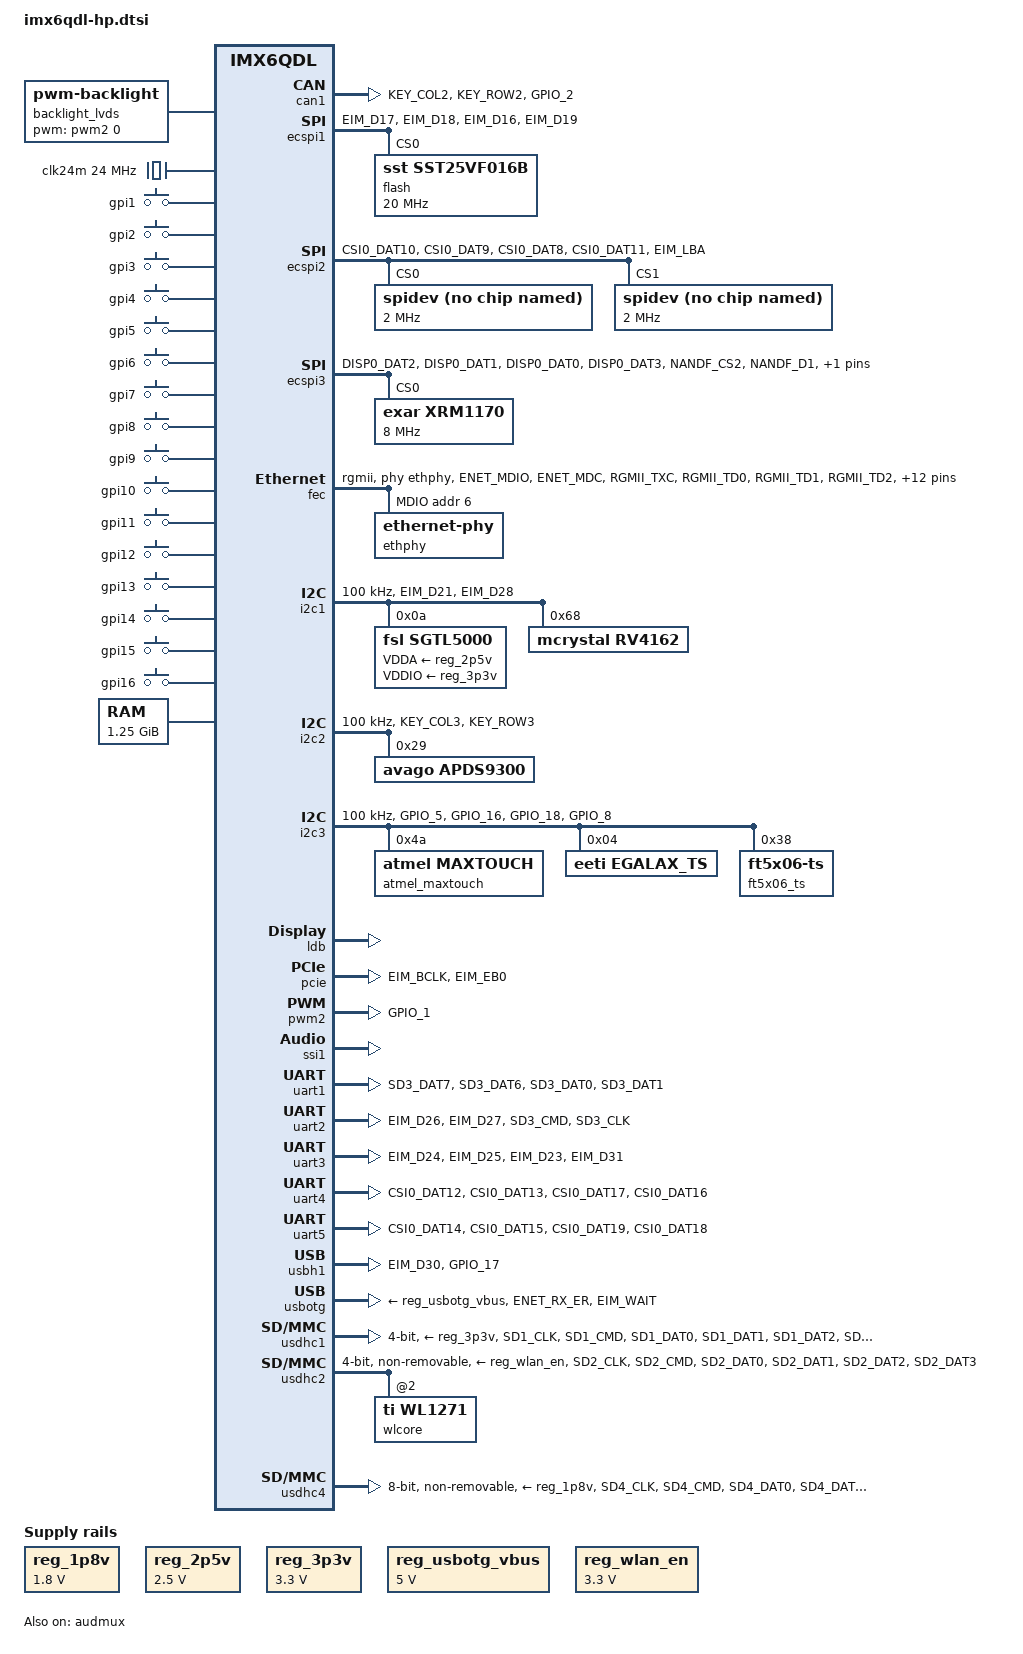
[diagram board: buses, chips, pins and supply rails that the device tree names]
/*
 * Copyright 2016 Boundary Devices, Inc.
 *
 * The code contained herein is licensed under the GNU General Public
 * License. You may obtain a copy of the GNU General Public License
 * Version 2 or later at the following locations:
 *
 * http://www.opensource.org/licenses/gpl-license.html
 * http://www.gnu.org/copyleft/gpl.html
 */
#include <dt-bindings/gpio/gpio.h>
#include <dt-bindings/input/input.h>

&iomuxc {
	pinctrl-names = "default";
	pinctrl-0 = <&pinctrl_hog>;

	iomuxc_imx6q_hp: iomuxc-imx6q-hpgrp {
		status = "okay";
	};
};

&iomuxc_imx6q_hp {
	pinctrl_audmux3: audmux3grp {
		fsl,pins = <
			MX6QDL_PAD_CSI0_DAT7__AUD3_RXD		0x130b0
			MX6QDL_PAD_CSI0_DAT4__AUD3_TXC		0x130b0
			MX6QDL_PAD_CSI0_DAT5__AUD3_TXD		0x110b0
			MX6QDL_PAD_CSI0_DAT6__AUD3_TXFS		0x130b0
		>;
	};

	pinctrl_audmux4: audmux4grp {
		fsl,pins = <
			MX6QDL_PAD_DISP0_DAT23__AUD4_RXD	0x130b0
			MX6QDL_PAD_DISP0_DAT19__AUD4_RXC	0x130b0
			MX6QDL_PAD_DISP0_DAT18__AUD4_RXFS	0x130b0
			MX6QDL_PAD_DISP0_DAT20__AUD4_TXC	0x130b0
			MX6QDL_PAD_DISP0_DAT21__AUD4_TXD	0x110b0
			MX6QDL_PAD_DISP0_DAT22__AUD4_TXFS	0x130b0
		>;
	};

	pinctrl_bt_rfkill: bt-rfkillgrp {
		fsl,pins = <
#define GP_BT_RFKILL_RESET	<&gpio6 16 GPIO_ACTIVE_LOW>
			MX6QDL_PAD_NANDF_CS3__GPIO6_IO16	0x030b0
		>;
	};

	pinctrl_ecspi1: ecspi1grp {
		fsl,pins = <
			MX6QDL_PAD_EIM_D17__ECSPI1_MISO		0x100b1
			MX6QDL_PAD_EIM_D18__ECSPI1_MOSI		0x100b1
			MX6QDL_PAD_EIM_D16__ECSPI1_SCLK		0x000b1
#define GP_ECSPI1_NOR_CS	<&gpio3 19 GPIO_ACTIVE_LOW>
			MX6QDL_PAD_EIM_D19__GPIO3_IO19		0x0b0b1
		>;
	};

	pinctrl_ecspi2: ecspi2grp {
		fsl,pins = <
			MX6QDL_PAD_CSI0_DAT10__ECSPI2_MISO	0x100b1
			MX6QDL_PAD_CSI0_DAT9__ECSPI2_MOSI	0x100b1
			MX6QDL_PAD_CSI0_DAT8__ECSPI2_SCLK	0x100b1
#define GP_ECSPI2_SS0		<&gpio5 29 GPIO_ACTIVE_LOW>
			MX6QDL_PAD_CSI0_DAT11__GPIO5_IO29	0x0b0b1
#define GP_ECSPI2_SS1		<&gpio2 27 GPIO_ACTIVE_LOW>
			MX6QDL_PAD_EIM_LBA__GPIO2_IO27		0x0b0b1
		>;
	};

	pinctrl_ecspi3: ecspi3grp {
		fsl,pins = <
			MX6QDL_PAD_DISP0_DAT2__ECSPI3_MISO	0x100b1
			MX6QDL_PAD_DISP0_DAT1__ECSPI3_MOSI	0x100b1
			MX6QDL_PAD_DISP0_DAT0__ECSPI3_SCLK	0x100b1
#define GP_ECSPI3_UART	<&gpio4 24 GPIO_ACTIVE_LOW>
			MX6QDL_PAD_DISP0_DAT3__GPIO4_IO24	0x0b0b0		/* XR20M1170IL16-F : uart */
			MX6QDL_PAD_NANDF_CS2__CCM_CLKO2		0x000b0
#define GPIRQ_SPI_UART		<&gpio2 1 IRQ_TYPE_LEVEL_LOW>
			MX6QDL_PAD_NANDF_D1__GPIO2_IO01		0x1b0b0
#define GP_SPI_UART_RESET	<&gpio2 2 GPIO_ACTIVE_LOW>
			MX6QDL_PAD_NANDF_D2__GPIO2_IO02		0x030b0
		>;
	};

	pinctrl_enet: enetgrp {
		fsl,pins = <
			MX6QDL_PAD_ENET_MDIO__ENET_MDIO		0x1b0b0
			MX6QDL_PAD_ENET_MDC__ENET_MDC		0x1b0b0
			MX6QDL_PAD_RGMII_TXC__RGMII_TXC		0x100b0
			MX6QDL_PAD_RGMII_TD0__RGMII_TD0		0x100b0
			MX6QDL_PAD_RGMII_TD1__RGMII_TD1		0x100b0
			MX6QDL_PAD_RGMII_TD2__RGMII_TD2		0x100b0
			MX6QDL_PAD_RGMII_TD3__RGMII_TD3		0x100b0
			MX6QDL_PAD_RGMII_TX_CTL__RGMII_TX_CTL	0x100b0
			MX6QDL_PAD_ENET_REF_CLK__ENET_TX_CLK	0x100b0
			MX6QDL_PAD_RGMII_RXC__RGMII_RXC		0x1b0b0
			MX6QDL_PAD_RGMII_RD0__RGMII_RD0		0x130b0
			MX6QDL_PAD_RGMII_RD1__RGMII_RD1		0x1b0b0
			MX6QDL_PAD_RGMII_RD2__RGMII_RD2		0x130b0
			MX6QDL_PAD_RGMII_RD3__RGMII_RD3		0x1b0b0
			MX6QDL_PAD_RGMII_RX_CTL__RGMII_RX_CTL	0x130b0
#define GP_ENET_PHY_RESET	<&gpio1 27 GPIO_ACTIVE_LOW>
			MX6QDL_PAD_ENET_RXD0__GPIO1_IO27	0x030b0
#define GPIRQ_ENET_PHY		<&gpio1 28 IRQ_TYPE_LEVEL_LOW>
			MX6QDL_PAD_ENET_TX_EN__GPIO1_IO28	0x1b0b0
#define GPIRQ_ENET		<&gpio1 6 IRQ_TYPE_LEVEL_HIGH>
			MX6QDL_PAD_GPIO_6__ENET_IRQ		0x000b1
		>;
	};

	pinctrl_flexcan1: flexcan1grp {
		fsl,pins = <
			MX6QDL_PAD_KEY_COL2__FLEXCAN1_TX	0x1b0b0
			MX6QDL_PAD_KEY_ROW2__FLEXCAN1_RX	0x1b0b0
#define GP_FLEXCAN1_STANDBY	<&gpio1 2 GPIO_ACTIVE_HIGH>
			MX6QDL_PAD_GPIO_2__GPIO1_IO02		0x0b0b0
		>;
	};

	pinctrl_gpio_keys: gpio-keysgrp {
		fsl,pins = <
#define GP_GPI_1	<&gpio3 8 GPIO_ACTIVE_HIGH>
			MX6QDL_PAD_EIM_DA8__GPIO3_IO08		0x100b0
#define GP_GPI_2	<&gpio3 9 GPIO_ACTIVE_HIGH>
			MX6QDL_PAD_EIM_DA9__GPIO3_IO09		0x100b0
#define GP_GPI_3	<&gpio3 10 GPIO_ACTIVE_HIGH>
			MX6QDL_PAD_EIM_DA10__GPIO3_IO10		0x100b0
#define GP_GPI_4	<&gpio3 11 GPIO_ACTIVE_HIGH>
			MX6QDL_PAD_EIM_DA11__GPIO3_IO11		0x100b0
#define GP_GPI_5	<&gpio3 12 GPIO_ACTIVE_HIGH>
			MX6QDL_PAD_EIM_DA12__GPIO3_IO12		0x100b0
#define GP_GPI_6	<&gpio3 13 GPIO_ACTIVE_HIGH>
			MX6QDL_PAD_EIM_DA13__GPIO3_IO13		0x100b0
#define GP_GPI_7	<&gpio3 14 GPIO_ACTIVE_HIGH>
			MX6QDL_PAD_EIM_DA14__GPIO3_IO14		0x100b0
#define GP_GPI_8	<&gpio3 15 GPIO_ACTIVE_HIGH>
			MX6QDL_PAD_EIM_DA15__GPIO3_IO15		0x100b0
#define GP_GPI_9	<&gpio4 15 GPIO_ACTIVE_HIGH>
			MX6QDL_PAD_KEY_ROW4__GPIO4_IO15		0x100b0
#define GP_GPI_10	<&gpio4 14 GPIO_ACTIVE_HIGH>
			MX6QDL_PAD_KEY_COL4__GPIO4_IO14		0x100b0
#define GP_GPI_11	<&gpio1 4 GPIO_ACTIVE_HIGH>
			MX6QDL_PAD_GPIO_4__GPIO1_IO04		0x100b0
#define GP_GPI_12	<&gpio4 7 GPIO_ACTIVE_HIGH>
			MX6QDL_PAD_KEY_ROW0__GPIO4_IO07		0x100b0
#define GP_GPI_13	<&gpio1 7 GPIO_ACTIVE_HIGH>
			MX6QDL_PAD_GPIO_7__GPIO1_IO07		0x100b0
#define GP_GPI_14	<&gpio3 29 GPIO_ACTIVE_HIGH>
			MX6QDL_PAD_EIM_D29__GPIO3_IO29		0x100b0
#define GP_GPI_15	<&gpio2 25 GPIO_ACTIVE_HIGH>
			MX6QDL_PAD_EIM_OE__GPIO2_IO25		0x100b0
#define GP_GPI_16	<&gpio2 26 GPIO_ACTIVE_HIGH>
			MX6QDL_PAD_EIM_RW__GPIO2_IO26		0x100b0
#define GP_GPI_EN_N	<&gpio2 31 GPIO_ACTIVE_LOW>
			MX6QDL_PAD_EIM_EB3__GPIO2_IO31		0x1b0b0
		>;
	};

	pinctrl_hog: hoggrp {
		fsl,pins = <
#define GP_GPO_1	<&gpio3 0 GPIO_ACTIVE_LOW>
			MX6QDL_PAD_EIM_DA0__GPIO3_IO00		0x1b0b0
#define GP_GPO_2	<&gpio3 1 GPIO_ACTIVE_LOW>
			MX6QDL_PAD_EIM_DA1__GPIO3_IO01		0x1b0b0
#define GP_GPO_3	<&gpio3 2 GPIO_ACTIVE_LOW>
			MX6QDL_PAD_EIM_DA2__GPIO3_IO02		0x1b0b0
#define GP_GPO_4	<&gpio3 3 GPIO_ACTIVE_LOW>
			MX6QDL_PAD_EIM_DA3__GPIO3_IO03		0x1b0b0
#define GP_GPO_5	<&gpio3 4 GPIO_ACTIVE_LOW>
			MX6QDL_PAD_EIM_DA4__GPIO3_IO04		0x1b0b0
#define GP_GPO_6	<&gpio3 5 GPIO_ACTIVE_LOW>
			MX6QDL_PAD_EIM_DA5__GPIO3_IO05		0x1b0b0
#define GP_GPO_7	<&gpio3 6 GPIO_ACTIVE_LOW>
			MX6QDL_PAD_EIM_DA6__GPIO3_IO06		0x1b0b0
#define GP_GPO_8	<&gpio3 7 GPIO_ACTIVE_LOW>
			MX6QDL_PAD_EIM_DA7__GPIO3_IO07		0x1b0b0
#define GP_TP71		<&gpio1 30 GPIO_ACTIVE_LOW>
			MX6QDL_PAD_ENET_TXD0__GPIO1_IO30	0x1b0b0
#define GP_TP72		<&gpio4 8 GPIO_ACTIVE_LOW>
			MX6QDL_PAD_KEY_COL1__GPIO4_IO08		0x1b0b0
#define GP_TP73		<&gpio4 9 GPIO_ACTIVE_LOW>
			MX6QDL_PAD_KEY_ROW1__GPIO4_IO09		0x1b0b0
#define GP_TP74		<&gpio2 7 GPIO_ACTIVE_LOW>
			MX6QDL_PAD_NANDF_D7__GPIO2_IO07		0x1b0b0
#define GP_TP84		<&gpio1 3 GPIO_ACTIVE_LOW>
			MX6QDL_PAD_GPIO_3__GPIO1_IO03		0x1b0b0
#define GP_TP88		<&gpio4 5 GPIO_ACTIVE_LOW>
			MX6QDL_PAD_GPIO_19__GPIO4_IO05		0x1b0b0
#define GP_TP89		<&gpio7 8 GPIO_ACTIVE_LOW>
			MX6QDL_PAD_SD3_RST__GPIO7_IO08		0x1b0b0
#define GP_TP95		<&gpio2 30 GPIO_ACTIVE_LOW>
			MX6QDL_PAD_EIM_EB2__GPIO2_IO30		0x1b0b0
#define GP_LVDS_CTRL	<&gpio2 0 GPIO_ACTIVE_LOW>
			MX6QDL_PAD_NANDF_D0__GPIO2_IO00		0x1b0b0
#define GPIRQ_LIGHT_SENSOR	<&gpio7 6 IRQ_TYPE_LEVEL_HIGH>
			MX6QDL_PAD_SD3_DAT2__GPIO7_IO06		0x1b0b0
		>;
	};

	pinctrl_i2c1: i2c1grp {
		fsl,pins = <
			MX6QDL_PAD_EIM_D21__I2C1_SCL		0x4001b8b1
			MX6QDL_PAD_EIM_D28__I2C1_SDA		0x4001b8b1
		>;
	};

	pinctrl_i2c1_rv4162: i2c1-rv4162grp {
		fsl,pins = <
#define GPIRQ_RTC_RV4162	<&gpio4 6 IRQ_TYPE_LEVEL_LOW>
			MX6QDL_PAD_KEY_COL0__GPIO4_IO06		0x1b0b0
		>;
	};

	pinctrl_i2c1_sgtl5000: i2c1-sgtl5000grp {
		fsl,pins = <
			MX6QDL_PAD_GPIO_0__CCM_CLKO1		0x000b0		/* sys_mclk */
		>;
	};

	pinctrl_i2c2: i2c2grp {
		fsl,pins = <
			MX6QDL_PAD_KEY_COL3__I2C2_SCL		0x4001b8b1
			MX6QDL_PAD_KEY_ROW3__I2C2_SDA		0x4001b8b1
		>;
	};

	pinctrl_i2c3: i2c3grp {
		fsl,pins = <
			MX6QDL_PAD_GPIO_5__I2C3_SCL		0x4001b8b1
			MX6QDL_PAD_GPIO_16__I2C3_SDA		0x4001b8b1
#define GPIRQ_I2C3_J6		<&gpio7 13 IRQ_TYPE_EDGE_FALLING>
#define GP_I2C3_J6		<&gpio7 13 GPIO_ACTIVE_LOW>
			MX6QDL_PAD_GPIO_18__GPIO7_IO13		0x1b0b0
#define GP_I2C3_J6_RESET	<&gpio1 8 GPIO_ACTIVE_LOW>
			MX6QDL_PAD_GPIO_8__GPIO1_IO08		0x130b0
		>;
	};

	pinctrl_pcie: pciegrp {
		fsl,pins = <
#define GP_PCIE_RESET	<&gpio6 31 GPIO_ACTIVE_LOW>
			MX6QDL_PAD_EIM_BCLK__GPIO6_IO31		0x030b0
#define GP_PCIE_DISABLE	<&gpio2 28 GPIO_ACTIVE_LOW>
			MX6QDL_PAD_EIM_EB0__GPIO2_IO28		0x030b0
		>;
	};

	pinctrl_pwm1: pwm1grp {
		fsl,pins = <
			MX6QDL_PAD_GPIO_9__PWM1_OUT		0x030b1
		>;
	};

	pinctrl_pwm2: pwm2grp {
		fsl,pins = <
			MX6QDL_PAD_GPIO_1__PWM2_OUT		0x030b1
		>;
	};

	pinctrl_reg_usbotg_vbus: reg-usbotg-vbusgrp {
		fsl,pins = <
#define GP_REG_USBOTG	<&gpio3 22 GPIO_ACTIVE_HIGH>
			MX6QDL_PAD_EIM_D22__GPIO3_IO22		0x030b0
		>;
	};

	pinctrl_reg_wlan_en: reg-wlan-engrp {
		fsl,pins = <
#define GP_REG_WLAN_EN	<&gpio2 5 GPIO_ACTIVE_HIGH>
			MX6QDL_PAD_NANDF_D5__GPIO2_IO05		0x030b0
		>;
	};

	pinctrl_uart1: uart1grp {
		fsl,pins = <
			MX6QDL_PAD_SD3_DAT7__UART1_TX_DATA	0x1b0b1
			MX6QDL_PAD_SD3_DAT6__UART1_RX_DATA	0x1b0b1
			MX6QDL_PAD_SD3_DAT0__GPIO7_IO04		0x1b0b1
#define GP_UART1_TX_EN	<&gpio7 5 GPIO_ACTIVE_HIGH>
			MX6QDL_PAD_SD3_DAT1__GPIO7_IO05		0x030b1
		>;
	};

	pinctrl_uart2: uart2grp {
		fsl,pins = <
			MX6QDL_PAD_EIM_D26__UART2_TX_DATA	0x1b0b1
			MX6QDL_PAD_EIM_D27__UART2_RX_DATA	0x1b0b1
			MX6QDL_PAD_SD3_CMD__UART2_CTS_B		0x1b0b1
			MX6QDL_PAD_SD3_CLK__UART2_RTS_B		0x1b0b1
		>;
	};

	pinctrl_uart3: uart3grp {
		fsl,pins = <
			MX6QDL_PAD_EIM_D24__UART3_TX_DATA	0x1b0b1
			MX6QDL_PAD_EIM_D25__UART3_RX_DATA	0x1b0b1
			MX6QDL_PAD_EIM_D23__GPIO3_IO23		0x1b0b1
#define GP_UART3_TX_EN	<&gpio3 31 GPIO_ACTIVE_HIGH>
			MX6QDL_PAD_EIM_D31__GPIO3_IO31		0x030b1
		>;
	};

	pinctrl_uart4: uart4grp {
		fsl,pins = <
			MX6QDL_PAD_CSI0_DAT12__UART4_TX_DATA	0x1b0b1
			MX6QDL_PAD_CSI0_DAT13__UART4_RX_DATA	0x1b0b1
			MX6QDL_PAD_CSI0_DAT17__GPIO6_IO03	0x1b0b1
#define GP_UART4_TX_EN	<&gpio6 2 GPIO_ACTIVE_HIGH>
			MX6QDL_PAD_CSI0_DAT16__GPIO6_IO02	0x030b1
		>;
	};

	pinctrl_uart5: uart5grp {
		fsl,pins = <
			MX6QDL_PAD_CSI0_DAT14__UART5_TX_DATA	0x0b0b1
			MX6QDL_PAD_CSI0_DAT15__UART5_RX_DATA	0x1b0b1
			MX6QDL_PAD_CSI0_DAT19__GPIO6_IO05	0x1b0b1
#define GP_UART5_TX_EN	<&gpio6 4 GPIO_ACTIVE_HIGH>
			MX6QDL_PAD_CSI0_DAT18__GPIO6_IO04	0x030b1
		>;
	};

	pinctrl_usbh1: usbh1grp {
		fsl,pins = <
			MX6QDL_PAD_EIM_D30__USB_H1_OC	0x1b0b0
#define GP_USBH1_HUB_RESET	<&gpio7 12 GPIO_ACTIVE_LOW>
			MX6QDL_PAD_GPIO_17__GPIO7_IO12		0x030b0
		>;
	};

	pinctrl_usbotg: usbotggrp {
		fsl,pins = <
			MX6QDL_PAD_ENET_RX_ER__USB_OTG_ID	0x17059
//			MX6QDL_PAD_KEY_COL4__USB_OTG_OC		0x1b0b0
			MX6QDL_PAD_EIM_WAIT__GPIO5_IO00		0x1b0b0	
		>;
	};

	pinctrl_usdhc1: usdhc1grp {
		fsl,pins = <
			MX6QDL_PAD_SD1_CLK__SD1_CLK		0x10059
			MX6QDL_PAD_SD1_CMD__SD1_CMD		0x17059
			MX6QDL_PAD_SD1_DAT0__SD1_DATA0		0x17059
			MX6QDL_PAD_SD1_DAT1__SD1_DATA1		0x17059
			MX6QDL_PAD_SD1_DAT2__SD1_DATA2		0x17059
			MX6QDL_PAD_SD1_DAT3__SD1_DATA3		0x17059
#define GP_USDHC1_CD	<&gpio7 0 GPIO_ACTIVE_LOW>
			MX6QDL_PAD_SD3_DAT5__GPIO7_IO00		0x1b0b0
		>;
	};

	pinctrl_usdhc2_50mhz: usdhc2-50mhzgrp {
		fsl,pins = <
			MX6QDL_PAD_SD2_CLK__SD2_CLK		0x10031
			MX6QDL_PAD_SD2_CMD__SD2_CMD		0x17031
			MX6QDL_PAD_SD2_DAT0__SD2_DATA0		0x17031
			MX6QDL_PAD_SD2_DAT1__SD2_DATA1		0x17031
			MX6QDL_PAD_SD2_DAT2__SD2_DATA2		0x17031
			MX6QDL_PAD_SD2_DAT3__SD2_DATA3		0x17031
		>;
	};

	pinctrl_usdhc2_100mhz: usdhc2-100mhzgrp {
		fsl,pins = <
			MX6QDL_PAD_SD2_CMD__SD2_CMD		0x170B9
			MX6QDL_PAD_SD2_CLK__SD2_CLK		0x100B9
			MX6QDL_PAD_SD2_DAT0__SD2_DATA0		0x170B9
			MX6QDL_PAD_SD2_DAT1__SD2_DATA1 		0x170B9
			MX6QDL_PAD_SD2_DAT2__SD2_DATA2 		0x170B9
			MX6QDL_PAD_SD2_DAT3__SD2_DATA3 		0x170B9
		>;
	};

	pinctrl_usdhc2_200mhz: usdhc2-200mhzgrp {
		fsl,pins = <
			MX6QDL_PAD_SD2_CMD__SD2_CMD		0x170F9
			MX6QDL_PAD_SD2_CLK__SD2_CLK 		0x100F9
			MX6QDL_PAD_SD2_DAT0__SD2_DATA0		0x170F9
			MX6QDL_PAD_SD2_DAT1__SD2_DATA1 		0x170F9
			MX6QDL_PAD_SD2_DAT2__SD2_DATA2 		0x170F9
			MX6QDL_PAD_SD2_DAT3__SD2_DATA3 		0x170F9
		>;
	};

	pinctrl_usdhc2_wlan:wlangrp {
		fsl,pins = <
#define GPIRQ_WL1271	<&gpio6 11 IRQ_TYPE_LEVEL_HIGH>
			MX6QDL_PAD_NANDF_CS0__GPIO6_IO11	0x100b0
#define GP_WIFI_QOW	<&gpio2 3 IRQ_TYPE_LEVEL_HIGH>
			MX6QDL_PAD_NANDF_D3__GPIO2_IO03		0x100b0
#define GP_WIFI_CLK_REQ	<&gpio2 4 IRQ_TYPE_LEVEL_HIGH>
			MX6QDL_PAD_NANDF_D4__GPIO2_IO04		0x100b0
#define GPIRQ_BT_HOST_WAKE	<&gpio6 10 IRQ_TYPE_LEVEL_HIGH>
			MX6QDL_PAD_NANDF_RB0__GPIO6_IO10	0x100b0
		>;
	};

	pinctrl_usdhc4: usdhc4grp {
		fsl,pins = <
			MX6QDL_PAD_SD4_CLK__SD4_CLK		0x10031
			MX6QDL_PAD_SD4_CMD__SD4_CMD		0x17031
			MX6QDL_PAD_SD4_DAT0__SD4_DATA0		0x17031
			MX6QDL_PAD_SD4_DAT1__SD4_DATA1		0x17031
			MX6QDL_PAD_SD4_DAT2__SD4_DATA2		0x17031
			MX6QDL_PAD_SD4_DAT3__SD4_DATA3		0x17031
			MX6QDL_PAD_SD4_DAT4__SD4_DATA4		0x17031
			MX6QDL_PAD_SD4_DAT5__SD4_DATA5		0x17031
			MX6QDL_PAD_SD4_DAT6__SD4_DATA6		0x17031
			MX6QDL_PAD_SD4_DAT7__SD4_DATA7		0x17031
		>;
	};
};

/ {
	aliases {
		backlight_lvds = &backlight_lvds;
		fb_lvds = &fb_lvds;
		ldb = &ldb;
		mmc0 = &usdhc1;
		mmc1 = &usdhc4;
		mmc2 = &usdhc2;
		mxcfb0 = &fb_lvds;
		pwm_lvds = &pwm4;
		t_lvds = &t_lvds;
	};

	backlight_j55 {
		brightness-levels = <0 1 2 3 4 5 6 7 8 9 10>;
		compatible = "pwm-backlight";
		default-brightness-level = <8>;
		pwms = <&pwm1 0 5000000>;
		status = "disabled";
	};

	backlight_lvds: backlight_lvds {
		brightness-levels = <0 1 2 3 4 5 6 7 8 9 10>;
		compatible = "pwm-backlight";
		default-brightness-level = <8>;
		display = <&fb_lvds>;
		pwms = <&pwm2 0 1667>;
	};

	bt_rfkill {
		compatible = "net,rfkill-gpio";
		pinctrl-names = "default";
		pinctrl-0 = <&pinctrl_bt_rfkill>;
		name = "bt_rfkill";
		type = <2>;	/* bluetooth */
		reset-gpios = GP_BT_RFKILL_RESET;
	};

	clocks {
		clk24m: clk24m {
			compatible = "fixed-clock";
			#clock-cells = <0>;
			clock-frequency = <24000000>;
		};
	};

	fb_lvds: fb@0 {
		compatible = "fsl,mxc_sdc_fb";
		disp_dev = "ldb";
		interface_pix_fmt = "RGB666";
		default_bpp = <16>;
		int_clk = <0>;
		late_init = <0>;
		status = "okay";
	};

	gpio-keys {
		compatible = "gpio-keys";
		enable-gpios = GP_GPI_EN_N;
		pinctrl-names = "default";
		pinctrl-0 = <&pinctrl_gpio_keys>;

		gpi1 {
			label = "gpi1";
			gpios = GP_GPI_1;
			linux,code = <KEY_F1>;
		};

		gpi2 {
			label = "gpi2";
			gpios = GP_GPI_2;
			linux,code = <KEY_F2>;
		};

		gpi3 {
			label = "gpi3";
			gpios = GP_GPI_3;
			linux,code = <KEY_F3>;
		};

		gpi4 {
			label = "gpi4";
			gpios = GP_GPI_4;
			linux,code = <KEY_F4>;
		};

		gpi5 {
			label = "gpi5";
			gpios = GP_GPI_5;
			linux,code = <KEY_F5>;
		};

		gpi6 {
			label = "gpi6";
			gpios = GP_GPI_6;
			linux,code = <KEY_F6>;
		};

		gpi7 {
			label = "gpi7";
			gpios = GP_GPI_7;
			linux,code = <KEY_F7>;
		};

		gpi8 {
			label = "gpi8";
			gpios = GP_GPI_8;
			linux,code = <KEY_F8>;
		};

		gpi9 {
			label = "gpi9";
			gpios = GP_GPI_9;
			linux,code = <KEY_F9>;
		};

		gpi10 {
			label = "gpi10";
			gpios = GP_GPI_10;
			linux,code = <KEY_F10>;
		};

		gpi11 {
			label = "gpi11";
			gpios = GP_GPI_11;
			linux,code = <KEY_F11>;
		};

		gpi12 {
			label = "gpi12";
			gpios = GP_GPI_12;
			linux,code = <KEY_F12>;
		};

		gpi13 {
			label = "gpi13";
			gpios = GP_GPI_13;
			linux,code = <KEY_F13>;
		};

		gpi14 {
			label = "gpi14";
			gpios = GP_GPI_14;
			linux,code = <KEY_F14>;
		};

		gpi15 {
			label = "gpi15";
			gpios = GP_GPI_15;
			linux,code = <KEY_F15>;
		};

		gpi16 {
			label = "gpi16";
			gpios = GP_GPI_16;
			linux,code = <KEY_F16>;
		};
	};

	memory {
		reg = <0x10000000 0x50000000>;
	};

	regulators {
		compatible = "simple-bus";
		#address-cells = <1>;
		#size-cells = <0>;

		reg_1p8v: regulator@0 {
			compatible = "regulator-fixed";
			reg = <0>;
			regulator-name = "1P8V";
			regulator-min-microvolt = <1800000>;
			regulator-max-microvolt = <1800000>;
			regulator-always-on;
		};

		reg_2p5v: regulator@1 {
			compatible = "regulator-fixed";
			reg = <1>;
			regulator-name = "2P5V";
			regulator-min-microvolt = <2500000>;
			regulator-max-microvolt = <2500000>;
			regulator-always-on;
		};

		reg_3p3v: regulator@2 {
			compatible = "regulator-fixed";
			reg = <2>;
			regulator-name = "3P3V";
			regulator-min-microvolt = <3300000>;
			regulator-max-microvolt = <3300000>;
			regulator-always-on;
		};

		reg_usbotg_vbus: regulator@3 {
			compatible = "regulator-fixed";
			reg = <3>;
			pinctrl-names = "default";
			pinctrl-0 = <&pinctrl_reg_usbotg_vbus>;
			regulator-name = "usb_otg_vbus";
			regulator-min-microvolt = <5000000>;
			regulator-max-microvolt = <5000000>;
			gpio = GP_REG_USBOTG;
			enable-active-high;
		};

		reg_wlan_en: regulator@4 {
			compatible = "regulator-fixed";
			reg = <4>;
			pinctrl-names = "default";
			pinctrl-0 = <&pinctrl_reg_wlan_en>;
			regulator-name = "wlan-en";
			regulator-min-microvolt = <3300000>;
			regulator-max-microvolt = <3300000>;
			gpio = GP_REG_WLAN_EN;
			startup-delay-us = <70000>;
			enable-active-high;
		};
	};

	sound {
		compatible = "fsl,imx6q-hp-sgtl5000",
			     "fsl,imx-audio-sgtl5000";
		model = "imx6q-hp-sgtl5000";
		ssi-controller = <&ssi1>;
		audio-codec = <&sgtl5000>;
		audio-routing =
			"MIC_IN", "Mic Jack",
			"Mic Jack", "Mic Bias",
			"Headphone Jack", "HP_OUT";
		mux-int-port = <1>;
		mux-ext-port = <3>;
	};

	v4l2_out {
		compatible = "fsl,mxc_v4l2_output";
		status = "okay";
	};
};

&audmux {
	pinctrl-names = "default";
	pinctrl-0 = <&pinctrl_audmux3>;
	status = "okay";
};

&can1 {
	pinctrl-names = "default";
	pinctrl-0 = <&pinctrl_flexcan1>;
	trx-stby-gpio = GP_FLEXCAN1_STANDBY;
	status = "okay";
};

&clks {
	assigned-clocks        = <&clks IMX6QDL_CLK_CKO2_PODF>, <&clks IMX6QDL_CLK_CKO2_SEL>, <&clks IMX6QDL_CLK_CKO>;
	assigned-clock-parents = <&clks IMX6QDL_CLK_CKO2_SEL>, <&clks IMX6QDL_CLK_OSC>, <&clks IMX6QDL_CLK_CKO1>;
	assigned-clock-rates = <24000000>;
};

&ecspi1 {
	pinctrl-names = "default";
	pinctrl-0 = <&pinctrl_ecspi1>;
	fsl,spi-num-chipselects = <1>;
	cs-gpios = GP_ECSPI1_NOR_CS;
	status = "okay";

	flash: m25p80@0 {
		compatible = "sst,sst25vf016b";
		spi-max-frequency = <20000000>;
		reg = <0>;
		#address-cells = <1>;
		#size-cells = <1>;
		mtd@00000000 {
			label = "U-Boot";
			reg = <0x0 0xC0000>;
		};

		mtd@000C0000 {
			label = "env";
			reg = <0xC0000 0x2000>;
		};
		mtd@000C2000 {
			label = "splash";
			reg = <0xC2000 0x13e000>;
		};
	};
};

&ecspi2 {
	pinctrl-names = "default";
	pinctrl-0 = <&pinctrl_ecspi2>;
	fsl,spi-num-chipselects = <2>;
	cs-gpios = GP_ECSPI2_SS0, GP_ECSPI2_SS1;
	status = "okay";

	spidev@0 {
		compatible = "spidev";
		reg = <0>;
		spi-max-frequency = <2000000>;
	};

	spidev@1 {
		compatible = "spidev";
		reg = <1>;
		spi-max-frequency = <2000000>;
	};
};

&ecspi3 {
	pinctrl-names = "default";
	pinctrl-0 = <&pinctrl_ecspi3>;
	fsl,spi-num-chipselects = <1>;
	cs-gpios = GP_ECSPI3_UART;
	status = "okay";

	xrm1170@0 {
		clocks = <&clks IMX6QDL_CLK_CKO2>;
		compatible = "exar,xrm1170";
		spi-max-frequency = <8000000>;
		reg = <0>;
		#address-cells = <1>;
		#size-cells = <1>;
		interrupts-extended = GPIRQ_SPI_UART;
		reset-gpios = GP_SPI_UART_RESET;
	};
};

&fec {
	interrupts-extended = GPIRQ_ENET,
			      <&intc 0 119 IRQ_TYPE_LEVEL_HIGH>;
	phy-handle = <&ethphy>;
	phy-mode = "rgmii";
#if 0
	phy-reset-gpios = GP_ENET_PHY_RESET;
#endif
	pinctrl-names = "default";
	pinctrl-0 = <&pinctrl_enet>;
	status = "okay";

	mdio {
		#address-cells = <0>;
		#size-cells = <1>;

		ethphy: ethernet-phy@6 {
			reg = <6>;
			interrupts-extended = GPIRQ_ENET_PHY;
		};
	};
};

&i2c1 {
	clock-frequency = <100000>;
	pinctrl-names = "default";
	pinctrl-0 = <&pinctrl_i2c1>;
	status = "okay";

	sgtl5000: sgtl5000@0a {
		compatible = "fsl,sgtl5000";
		pinctrl-names = "default";
		pinctrl-0 = <&pinctrl_i2c1_sgtl5000>;
		reg = <0x0a>;
		clocks = <&clks IMX6QDL_CLK_CKO>;
		VDDA-supply = <&reg_2p5v>;
		VDDIO-supply = <&reg_3p3v>;
	};

	rv4162@68 {
		compatible = "mcrystal,rv4162";
		pinctrl-names = "default";
		pinctrl-0 = <&pinctrl_i2c1_rv4162>;
		reg = <0x68>;
		interrupts-extended = GPIRQ_RTC_RV4162;
	};
};

&i2c2 {
	clock-frequency = <100000>;
	pinctrl-names = "default";
	pinctrl-0 = <&pinctrl_i2c2>;
	status = "okay";

	apds9300@29 {
		compatible = "avago,apds9300";
		reg = <0x29>;
	};
};

&i2c3 {
	clock-frequency = <100000>;
	pinctrl-names = "default";
	pinctrl-0 = <&pinctrl_i2c3>;
	status = "okay";

	atmel_maxtouch@4a {
		compatible = "atmel,maxtouch";
		reg = <0x4a>;
		interrupts-extended = GPIRQ_I2C3_J6;
		wakeup-gpios = GP_I2C3_J6;
		reset-gpios = GP_I2C3_J6_RESET;
	};

	egalax_ts@04 {
		compatible = "eeti,egalax_ts";
		reg = <0x04>;
		interrupts-extended = GPIRQ_I2C3_J6;
		wakeup-gpios = GP_I2C3_J6;
	};

	ft5x06_ts@38 {
		compatible = "ft5x06-ts";
		reg = <0x38>;
		interrupts-extended = GPIRQ_I2C3_J6;
		wakeup-gpios = GP_I2C3_J6;
	};
};

&ldb {
	status = "okay";

	lvds-channel@0 {
		crtc = "ipu1-di1";
		fsl,data-mapping = "spwg";
		fsl,data-width = <18>;
		status = "okay";
		primary;

		display-timings {
			t_lvds: t_lvds_default {
				/* lg1280x800 values may be changed in bootscript */
				clock-frequency = <72000000>;
				hactive = <1280>;
				vactive = <800>;
				hback-porch = <48>;
				hfront-porch = <80>;
				vback-porch = <15>;
				vfront-porch = <2>;
				hsync-len = <32>;
				vsync-len = <6>;
			};
			lvds1080p: lvds1080p {
				clock-frequency = <148500000>;
				hactive = <1920>;
				vactive = <1080>;
				hback-porch = <148>;
				hfront-porch = <88>;
				vback-porch = <36>;
				vfront-porch = <4>;
				hsync-len = <44>;
				vsync-len = <5>;
			};
			okaya1024x600: okaya7x0WP {
				clock-frequency = <52000000>;
				hactive = <1024>;
				vactive = <600>;
				hback-porch = <220>;
				hfront-porch = <40>;
				vback-porch = <7>;
				vfront-porch = <21>;
				hsync-len = <60>;
				vsync-len = <10>;
			};
			hannstar: hsd100pxn1 {
				clock-frequency = <65000000>;
				hactive = <1024>;
				vactive = <768>;
				hback-porch = <220>;
				hfront-porch = <40>;
				vback-porch = <21>;
				vfront-porch = <7>;
				hsync-len = <60>;
				vsync-len = <10>;
			};
		};
	};
};

&pcie {
	pinctrl-names = "default";
	pinctrl-0 = <&pinctrl_pcie>;
	reset-gpio = GP_PCIE_RESET;
	status = "okay";
};

&pwm1 {
	pinctrl-names = "default";
	pinctrl-0 = <&pinctrl_pwm1>;
	status = "disable";
};

&pwm2 {
	pinctrl-names = "default";
	pinctrl-0 = <&pinctrl_pwm2>;
	status = "okay";
};

&ssi1 {
	fsl,mode = "i2s-slave";
	status = "okay";
};

&uart1 {
	pinctrl-names = "default";
	pinctrl-0 = <&pinctrl_uart1>;
	control-gpios = GP_UART1_TX_EN;
#define M_TX_EN		1
	off_levels = <0>;
	rxact_mask = <0>;
	rxact_levels = <0>;
	rs232_levels = <0>;
	rs232_txen_mask = <M_TX_EN>;
	rs232_txen_levels = <M_TX_EN>;
	rs485_levels = <0>;
	rs485_txen_mask = <M_TX_EN>;
	rs485_txen_levels = <M_TX_EN>;
	rs485-mode = <1>;
	status = "okay";
};

&uart2 {
	pinctrl-names = "default";
	pinctrl-0 = <&pinctrl_uart2>;
	fsl,uart-has-rtscts;
	status = "okay";
};

&uart3 {
	pinctrl-names = "default";
	pinctrl-0 = <&pinctrl_uart3>;
	control-gpios = GP_UART3_TX_EN;
	off_levels = <0>;
	rxact_mask = <0>;
	rxact_levels = <0>;
	rs232_levels = <0>;
	rs232_txen_mask = <M_TX_EN>;
	rs232_txen_levels = <M_TX_EN>;
	rs485_levels = <0>;
	rs485_txen_mask = <M_TX_EN>;
	rs485_txen_levels = <M_TX_EN>;
	rs485-mode = <1>;
	status = "okay";
};

&uart4 {
	pinctrl-names = "default";
	pinctrl-0 = <&pinctrl_uart4>;
	control-gpios = GP_UART4_TX_EN;
	off_levels = <0>;
	rxact_mask = <0>;
	rxact_levels = <0>;
	rs232_levels = <0>;
	rs232_txen_mask = <M_TX_EN>;
	rs232_txen_levels = <M_TX_EN>;
	rs485_levels = <0>;
	rs485_txen_mask = <M_TX_EN>;
	rs485_txen_levels = <M_TX_EN>;
	rs485-mode = <1>;
	status = "okay";
};

&uart5 {
	pinctrl-names = "default";
	pinctrl-0 = <&pinctrl_uart5>;
	control-gpios = GP_UART5_TX_EN;
	off_levels = <0>;
	rxact_mask = <0>;
	rxact_levels = <0>;
	rs232_levels = <0>;
	rs232_txen_mask = <M_TX_EN>;
	rs232_txen_levels = <M_TX_EN>;
	rs485_levels = <0>;
	rs485_txen_mask = <M_TX_EN>;
	rs485_txen_levels = <M_TX_EN>;
	rs485-mode = <1>;
	status = "okay";
};

&usbh1 {
	pinctrl-names = "default";
	pinctrl-0 = <&pinctrl_usbh1>;
	disable-over-current;
	reset-gpios = GP_USBH1_HUB_RESET;
	status = "okay";
};

&usbotg {
	vbus-supply = <&reg_usbotg_vbus>;
	pinctrl-names = "default";
	pinctrl-0 = <&pinctrl_usbotg>;
	disable-over-current;
	status = "okay";
};

&usdhc1 {
	pinctrl-names = "default";
	pinctrl-0 = <&pinctrl_usdhc1>;
	bus-width = <4>;
	cd-gpios = GP_USDHC1_CD;
	vmmc-supply = <&reg_3p3v>;
	status = "okay";
};

&usdhc2 {	/* uSDHC2, silex/TiWi wl1271 */
	pinctrl-names = "default", "state_100mhz", "state_200mhz";
	pinctrl-0 = <&pinctrl_usdhc2_50mhz>;
	pinctrl-1 = <&pinctrl_usdhc2_100mhz>;
	pinctrl-2 = <&pinctrl_usdhc2_200mhz>;
	bus-width = <4>;
	non-removable;
	vmmc-supply = <&reg_wlan_en>;
	vqmmc-1-8-v;
	cap-power-off-card;
	keep-power-in-suspend;
	status = "okay";

	#address-cells = <1>;
	#size-cells = <0>;
	wlcore: wlcore@2 {
		compatible = "ti,wl1271";
		interrupts-extended = GPIRQ_WL1271;
		pinctrl-names = "default";
		pinctrl-0 = <&pinctrl_usdhc2_wlan>, <&pinctrl_audmux4>;
		reg = <2>;
		ref-clock-frequency = <38400000>;
	};
};

&usdhc4 {
	pinctrl-names = "default";
	pinctrl-0 = <&pinctrl_usdhc4>;
	bus-width = <8>;
	non-removable;
	vqmmc-1-8-v;
	vmmc-supply = <&reg_1p8v>;
	keep-power-in-suspend;
	status = "okay";
};
